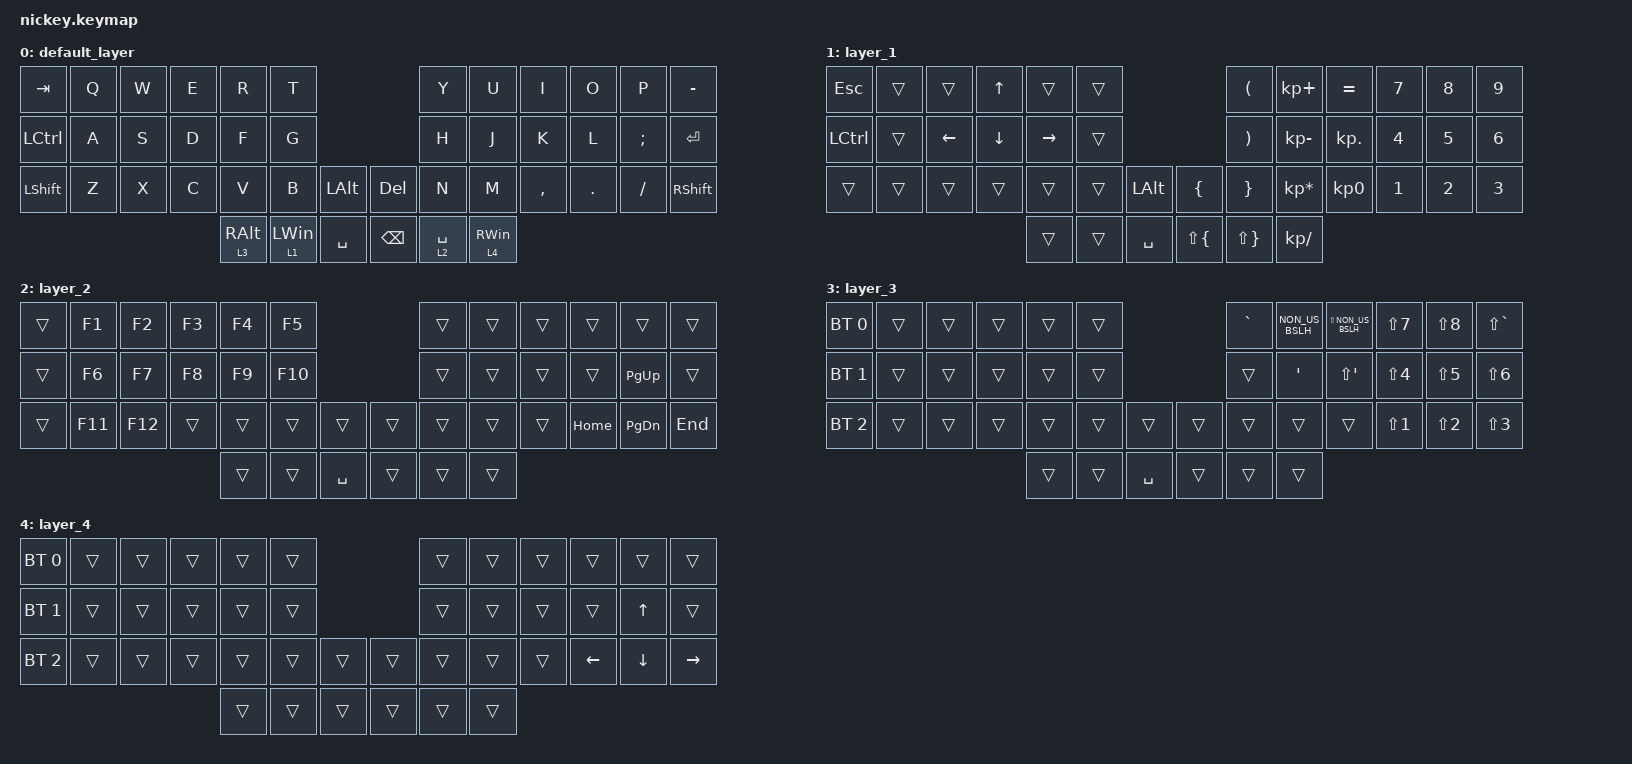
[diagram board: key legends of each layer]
#include <input/processors.dtsi>
#include <dt-bindings/zmk/input_transform.h>
#include <zephyr/dt-bindings/input/input-event-codes.h>
#include <behaviors.dtsi>
#include <dt-bindings/zmk/bt.h>
#include <dt-bindings/zmk/keys.h>
#include <dt-bindings/zmk/pointing.h>

&mt {
    flavor = "balanced";
    quick-tap-ms = <0>;
};

&lt {
    quick-tap-ms = <300>;
    flavor = "balanced";
};

/ {
    combos { compatible = "zmk,combos"; };

    macros {
        to_layer_0: to_layer_0 {
            compatible = "zmk,behavior-macro-one-param";
            #binding-cells = <1>;
            bindings = <&to 0 &macro_param_1to1 &kp MACRO_PLACEHOLDER>;
            label = "TO_LAYER_0";
        };
    };

    behaviors {
        lt_to_layer_0: lt_to_layer_0 {
            compatible = "zmk,behavior-hold-tap";
            label = "LAYER_TAP_TO_0";
            bindings = <&mo>, <&to_layer_0>;

            #binding-cells = <2>;
            tapping-term-ms = <200>;
        };

        scroll_up_down: mouse_wheel_up_down {
            compatible = "zmk,behavior-sensor-rotate";
            #sensor-binding-cells = <0>;
            bindings = <&msc SCRL_DOWN>, <&msc SCRL_UP>;

            tap-ms = <20>;
        };

        scroll_right_left: mouse_wheel_right_left {
            compatible = "zmk,behavior-sensor-rotate";
            #sensor-binding-cells = <0>;
            bindings = <&msc SCRL_LEFT>, <&msc SCRL_RIGHT>;

            tap-ms = <20>;
        };
    };

    keymap {
        compatible = "zmk,keymap";

        default_layer {
            bindings = <
&kp TAB    &kp Q  &kp W  &kp E  &kp R       &kp T                                    &kp Y        &kp U       &kp I      &kp O    &kp P     &kp MINUS
&kp LCTRL  &kp A  &kp S  &kp D  &kp F       &kp G                                    &kp H        &kp J       &kp K      &kp L    &kp SEMI  &kp ENTER
&kp LSHFT  &kp Z  &kp X  &kp C  &kp V       &kp B           &kp LALT     &kp DELETE  &kp N        &kp M       &kp COMMA  &kp DOT  &kp FSLH  &kp RSHFT
                                &lt 3 RALT  &lt 1 LEFT_WIN  &kp SPACE    &kp BSPC    &lt 2 SPACE  &lt 4 RWIN
            >;
        };

        layer_1 {
            bindings = <
&kp ESCAPE  &trans  &trans    &kp UP    &trans     &trans                                   &kp LPAR             &kp KP_PLUS      &kp EQUAL        &kp NUMBER_7  &kp NUMBER_8  &kp NUMBER_9
&kp LCTRL   &trans  &kp LEFT  &kp DOWN  &kp RIGHT  &trans                                   &kp RPAR             &kp KP_MINUS     &kp KP_DOT       &kp NUMBER_4  &kp NUMBER_5  &kp NUMBER_6
&trans      &trans  &trans    &trans    &trans     &trans  &kp LALT     &kp LEFT_BRACE      &kp RIGHT_BRACE      &kp KP_MULTIPLY  &kp KP_NUMBER_0  &kp NUMBER_1  &kp NUMBER_2  &kp NUMBER_3
                                        &trans     &trans  &kp SPACE    &kp LS(LEFT_BRACE)  &kp LS(RIGHT_BRACE)  &kp KP_DIVIDE
            >;
        };

        layer_2 {
            bindings = <
&trans  &kp F1   &kp F2   &kp F3  &kp F4  &kp F5                        &trans  &trans  &trans  &trans    &trans         &trans
&trans  &kp F6   &kp F7   &kp F8  &kp F9  &kp F10                       &trans  &trans  &trans  &trans    &kp PAGE_UP    &trans
&trans  &kp F11  &kp F12  &trans  &trans  &trans   &trans       &trans  &trans  &trans  &trans  &kp HOME  &kp PAGE_DOWN  &kp END
                                  &trans  &trans   &kp SPACE    &trans  &trans  &trans
            >;
        };

        layer_3 {
            bindings = <
&bt BT_SEL 0  &trans  &trans  &trans  &trans  &trans                       &kp GRAVE  &kp NON_US_BSLH  &kp LS(NON_US_BSLH)  &kp LS(N7)  &kp LS(N8)  &kp LS(GRAVE)
&bt BT_SEL 1  &trans  &trans  &trans  &trans  &trans                       &trans     &kp SQT          &kp LS(SQT)          &kp LS(N4)  &kp LS(N5)  &kp LS(N6)
&bt BT_SEL 2  &trans  &trans  &trans  &trans  &trans  &trans       &trans  &trans     &trans           &trans               &kp LS(N1)  &kp LS(N2)  &kp LS(N3)
                                      &trans  &trans  &kp SPACE    &trans  &trans     &trans
            >;
        };

        layer_4 {
            bindings = <
&bt BT_SEL 0  &trans  &trans  &trans  &trans  &trans                    &trans  &trans  &trans  &trans    &trans    &trans
&bt BT_SEL 1  &trans  &trans  &trans  &trans  &trans                    &trans  &trans  &trans  &trans    &kp UP    &trans
&bt BT_SEL 2  &trans  &trans  &trans  &trans  &trans  &trans    &trans  &trans  &trans  &trans  &kp LEFT  &kp DOWN  &kp RIGHT
                                      &trans  &trans  &trans    &trans  &trans  &trans
            >;
        };
    };
};
